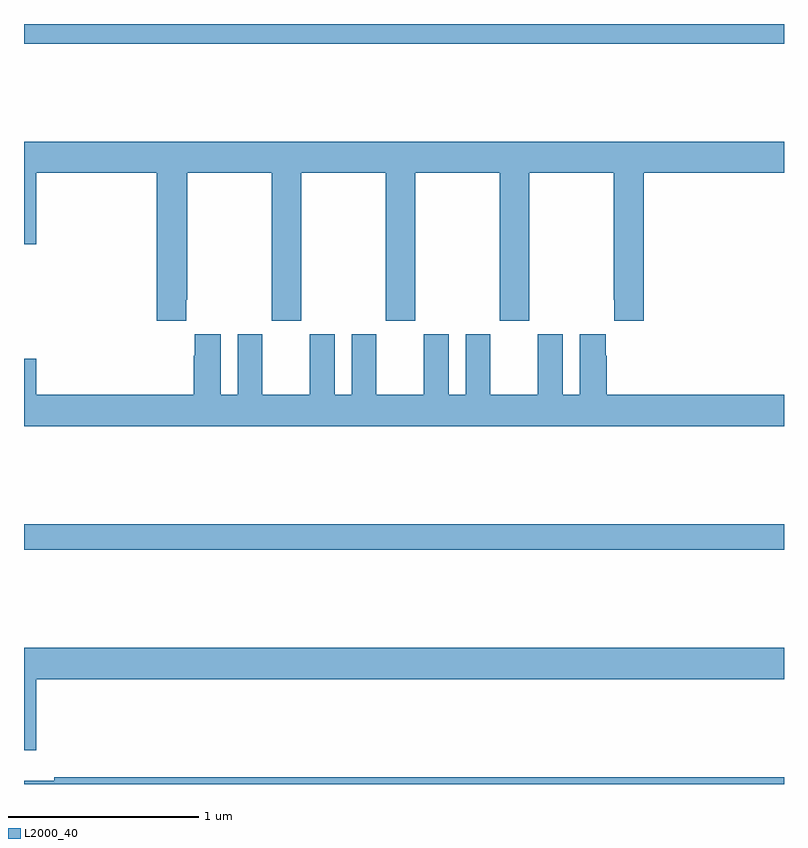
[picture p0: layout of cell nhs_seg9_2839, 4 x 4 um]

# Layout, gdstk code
import gdstk
lib = gdstk.Library(unit=1e-6, precision=1e-09)
def R(c, l, rs):  # rectangles x0, y0, x1, y1
    for r in rs: c.add(gdstk.rectangle(r[:2], r[2:], *l))
def P(c, l, *ps):  # polygons
    for p in ps: c.add(gdstk.Polygon(p, *l))
L2000_40 = (2000, 40)

nhs_seg9_2839 = lib.new_cell('nhs_seg9_2839')
R(nhs_seg9_2839, L2000_40, [(273,1231.732,277,1231.868), (273,1234.396,277,1234.5)])
P(nhs_seg9_2839, L2000_40, [(273.853,1233.049),(273.858,1233.049),(273.858,1233.716),(274.303,1233.716),(274.303,1232.937),(274.458,1232.937),(274.458,1233.716),(274.903,1233.716),(274.903,1232.937),(275.058,1232.937),(275.058,1233.716),(275.503,1233.716),(275.503,1232.937),(275.658,1232.937),(275.658,1233.716),(276.103,1233.716),(276.103,1233.049),(276.107,1233.049),(276.107,1232.937),(276.263,1232.937),(276.263,1233.716),(277,1233.716),(277,1233.88),(273,1233.88),(273,1233.342),(273.064,1233.342),(273.064,1233.716),(273.698,1233.716),(273.698,1232.937),(273.853,1232.937)],
  [(275.105,1232.866),(275.105,1232.548),(274.855,1232.548),(274.855,1232.866),(274.724,1232.866),(274.724,1232.548),(274.636,1232.548),(274.636,1232.866),(274.505,1232.866),(274.505,1232.548),(274.255,1232.548),(274.255,1232.866),(274.124,1232.866),(274.124,1232.548),(274.036,1232.548),(274.036,1232.866),(273.899,1232.866),(273.899,1232.753),(273.893,1232.753),(273.893,1232.548),(273.064,1232.548),(273.064,1232.737),(273,1232.737),(273,1232.384),(277,1232.384),(277,1232.548),(276.068,1232.548),(276.068,1232.753),(276.061,1232.753),(276.061,1232.866),(275.924,1232.866),(275.924,1232.548),(275.836,1232.548),(275.836,1232.866),(275.705,1232.866),(275.705,1232.548),(275.455,1232.548),(275.455,1232.866),(275.324,1232.866),(275.324,1232.548),(275.236,1232.548),(275.236,1232.866)],
  [(273.064,1231.052),(277,1231.052),(277,1231.216),(273,1231.216),(273,1230.678),(273.064,1230.678)],
  [(277,1230.536),(273.16,1230.536),(273.16,1230.517),(273,1230.517),(273,1230.5),(277,1230.5)])

lib.write_gds('nhs_seg9_2839.gds')
